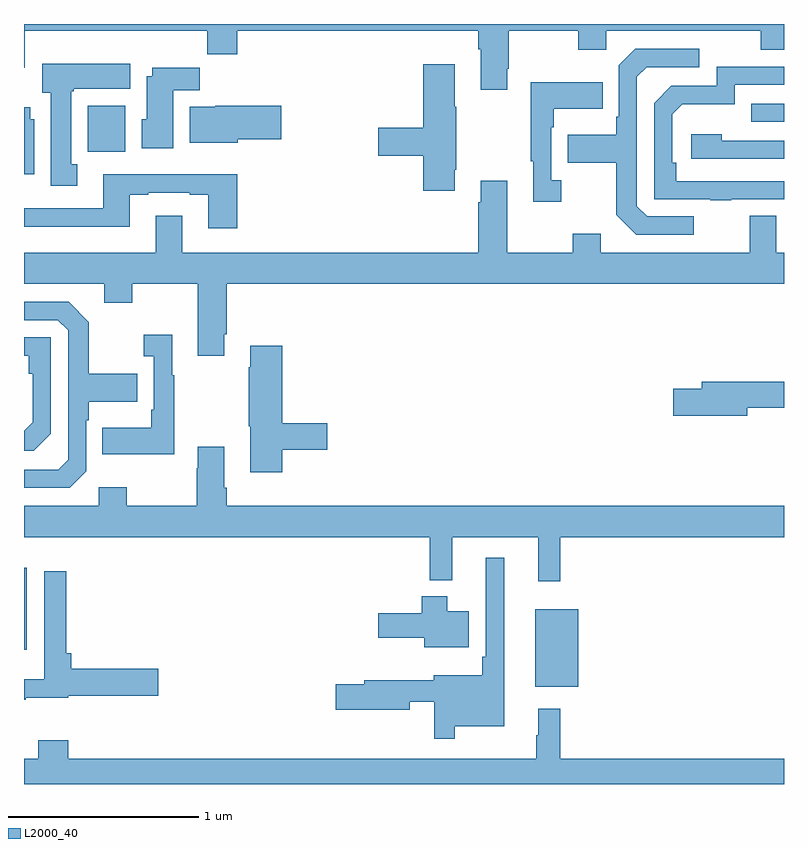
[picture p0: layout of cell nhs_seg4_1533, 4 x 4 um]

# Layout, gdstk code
import gdstk
lib = gdstk.Library(unit=1e-6, precision=1e-09)
def R(c, l, rs):  # rectangles x0, y0, x1, y1
    for r in rs: c.add(gdstk.rectangle(r[:2], r[2:], *l))
def P(c, l, *ps):  # polygons
    for p in ps: c.add(gdstk.Polygon(p, *l))
L2000_40 = (2000, 40)

nhs_seg4_1533 = lib.new_cell('nhs_seg4_1533')
R(nhs_seg4_1533, L2000_40, [(193.691,749.411,193.918,749.821), (191,749.607,191.014,750.037), (191.336,752.228,191.533,752.47), (194.827,752.385,195,752.481)])
P(nhs_seg4_1533, L2000_40, [(193.543,752.665),(193.551,752.665),(193.551,752.864),(193.918,752.864),(193.918,752.765),(194.064,752.765),(194.064,752.864),(194.878,752.864),(194.878,752.765),(195,752.765),(195,752.9),(191,752.9),(191,752.67),(191.005,752.67),(191.005,752.864),(191.965,752.864),(191.965,752.74),(192.122,752.74),(192.122,752.864),(193.391,752.864),(193.391,752.768),(193.403,752.768),(193.403,752.553),(193.543,752.553)],
  [(194.524,751.887),(194.28,751.887),(194.226,751.941),(194.226,752.622),(194.277,752.673),(194.554,752.673),(194.554,752.769),(194.217,752.769),(194.13,752.682),(194.13,752.413),(194.118,752.413),(194.118,752.317),(193.861,752.317),(193.861,752.17),(194.118,752.17),(194.118,751.897),(194.223,751.791),(194.524,751.791)],
  [(191.281,752.162),(191.248,752.162),(191.248,752.545),(191.262,752.545),(191.262,752.558),(191.56,752.558),(191.56,752.692),(191.096,752.692),(191.096,752.538),(191.141,752.538),(191.141,752.049),(191.281,752.049)],
  [(193.267,752.134),(193.275,752.134),(193.275,752.465),(193.267,752.465),(193.267,752.689),(193.1,752.689),(193.1,752.354),(192.864,752.354),(192.864,752.207),(193.1,752.207),(193.1,752.022),(193.267,752.022)],
  [(194.723,751.977),(195,751.977),(195,752.073),(194.432,752.073),(194.432,752.17),(194.412,752.17),(194.412,752.424),(194.465,752.477),(194.742,752.477),(194.742,752.58),(195,752.58),(195,752.676),(194.646,752.676),(194.646,752.574),(194.406,752.574),(194.316,752.484),(194.316,751.977),(194.611,751.977),(194.611,751.972),(194.723,751.972)],
  [(191.785,752.552),(191.924,752.552),(191.924,752.671),(191.675,752.671),(191.675,752.626),(191.645,752.626),(191.645,752.4),(191.621,752.4),(191.621,752.246),(191.785,752.246)],
  [(193.828,752.078),(193.776,752.078),(193.776,752.357),(193.789,752.357),(193.789,752.453),(194.045,752.453),(194.045,752.593),(193.668,752.593),(193.668,752.177),(193.679,752.177),(193.679,751.965),(193.828,751.965)],
  [(192.124,752.294),(192.355,752.294),(192.355,752.47),(192.006,752.47),(192.006,752.464),(191.873,752.464),(191.873,752.276),(192.124,752.276)],
  [(191.053,752.4),(191.032,752.4),(191.032,752.461),(191,752.461),(191,752.108),(191.053,752.108)],
  [(195,752.286),(194.672,752.286),(194.672,752.32),(194.511,752.32),(194.511,752.19),(195,752.19)],
  [(192.122,752.11),(191.417,752.11),(191.417,751.929),(191,751.929),(191,751.832),(191.557,751.832),(191.557,752.001),(191.653,752.001),(191.653,752.013),(191.873,752.013),(191.873,752.001),(191.969,752.001),(191.969,751.824),(192.122,751.824)],
  [(192.055,751.267),(192.068,751.267),(192.068,751.532),(195,751.532),(195,751.696),(194.959,751.696),(194.959,751.891),(194.819,751.891),(194.819,751.696),(194.035,751.696),(194.035,751.795),(193.888,751.795),(193.888,751.696),(193.543,751.696),(193.543,752.074),(193.403,752.074),(193.403,751.961),(193.391,751.961),(193.391,751.696),(191.833,751.696),(191.833,751.891),(191.693,751.891),(191.693,751.696),(191,751.696),(191,751.532),(191.423,751.532),(191.423,751.433),(191.571,751.433),(191.571,751.532),(191.915,751.532),(191.915,751.155),(192.055,751.155)],
  [(191.328,750.546),(191.328,750.815),(191.341,750.815),(191.341,750.911),(191.597,750.911),(191.597,751.059),(191.341,751.059),(191.341,751.331),(191.235,751.437),(191,751.437),(191,751.341),(191.178,751.341),(191.232,751.287),(191.232,750.606),(191.181,750.555),(191,750.555),(191,750.459),(191.241,750.459)],
  [(191.791,751.051),(191.779,751.051),(191.779,751.264),(191.631,751.264),(191.631,751.151),(191.682,751.151),(191.682,750.871),(191.67,750.871),(191.67,750.775),(191.413,750.775),(191.413,750.635),(191.791,750.635)],
  [(191.142,750.744),(191.142,751.251),(191,751.251),(191,751.155),(191.026,751.155),(191.026,751.058),(191.046,751.058),(191.046,750.804),(191,750.758),(191,750.654),(191.052,750.654)],
  [(192.359,750.658),(192.595,750.658),(192.595,750.8),(192.359,750.8),(192.359,751.207),(192.191,751.207),(192.191,751.094),(192.184,751.094),(192.184,750.783),(192.191,750.783),(192.191,750.54),(192.359,750.54)],
  [(194.806,750.88),(195,750.88),(195,751.016),(194.567,751.016),(194.567,750.98),(194.418,750.98),(194.418,750.838),(194.806,750.838)],
  [(192.068,750.46),(192.055,750.46),(192.055,750.676),(191.915,750.676),(191.915,750.563),(191.908,750.563),(191.908,750.364),(191.541,750.364),(191.541,750.463),(191.394,750.463),(191.394,750.364),(191,750.364),(191,750.2),(193.135,750.2),(193.135,749.972),(193.253,749.972),(193.253,750.2),(193.706,750.2),(193.706,749.967),(193.823,749.967),(193.823,750.2),(195,750.2),(195,750.364),(192.068,750.364)],
  [(193.267,749.204),(193.528,749.204),(193.528,750.091),(193.431,750.091),(193.431,749.569),(193.411,749.569),(193.411,749.473),(193.157,749.473),(193.157,749.445),(192.791,749.445),(192.791,749.426),(192.642,749.426),(192.642,749.291),(193.03,749.291),(193.03,749.334),(193.158,749.334),(193.158,749.139),(193.267,749.139)],
  [(191.009,749.353),(191.232,749.353),(191.232,749.365),(191.707,749.365),(191.707,749.507),(191.249,749.507),(191.249,749.587),(191.222,749.587),(191.222,750.019),(191.106,750.019),(191.106,749.452),(191,749.452),(191,749.343),(191.009,749.343)],
  [(193.342,749.809),(193.228,749.809),(193.228,749.887),(193.094,749.887),(193.094,749.799),(192.864,749.799),(192.864,749.669),(193.106,749.669),(193.106,749.621),(193.342,749.621)],
  [(195,749.032),(193.823,749.032),(193.823,749.296),(193.706,749.296),(193.706,749.156),(193.695,749.156),(193.695,749.032),(191.234,749.032),(191.234,749.131),(191.074,749.131),(191.074,749.032),(191,749.032),(191,748.9),(195,748.9)])

lib.write_gds('nhs_seg4_1533.gds')
